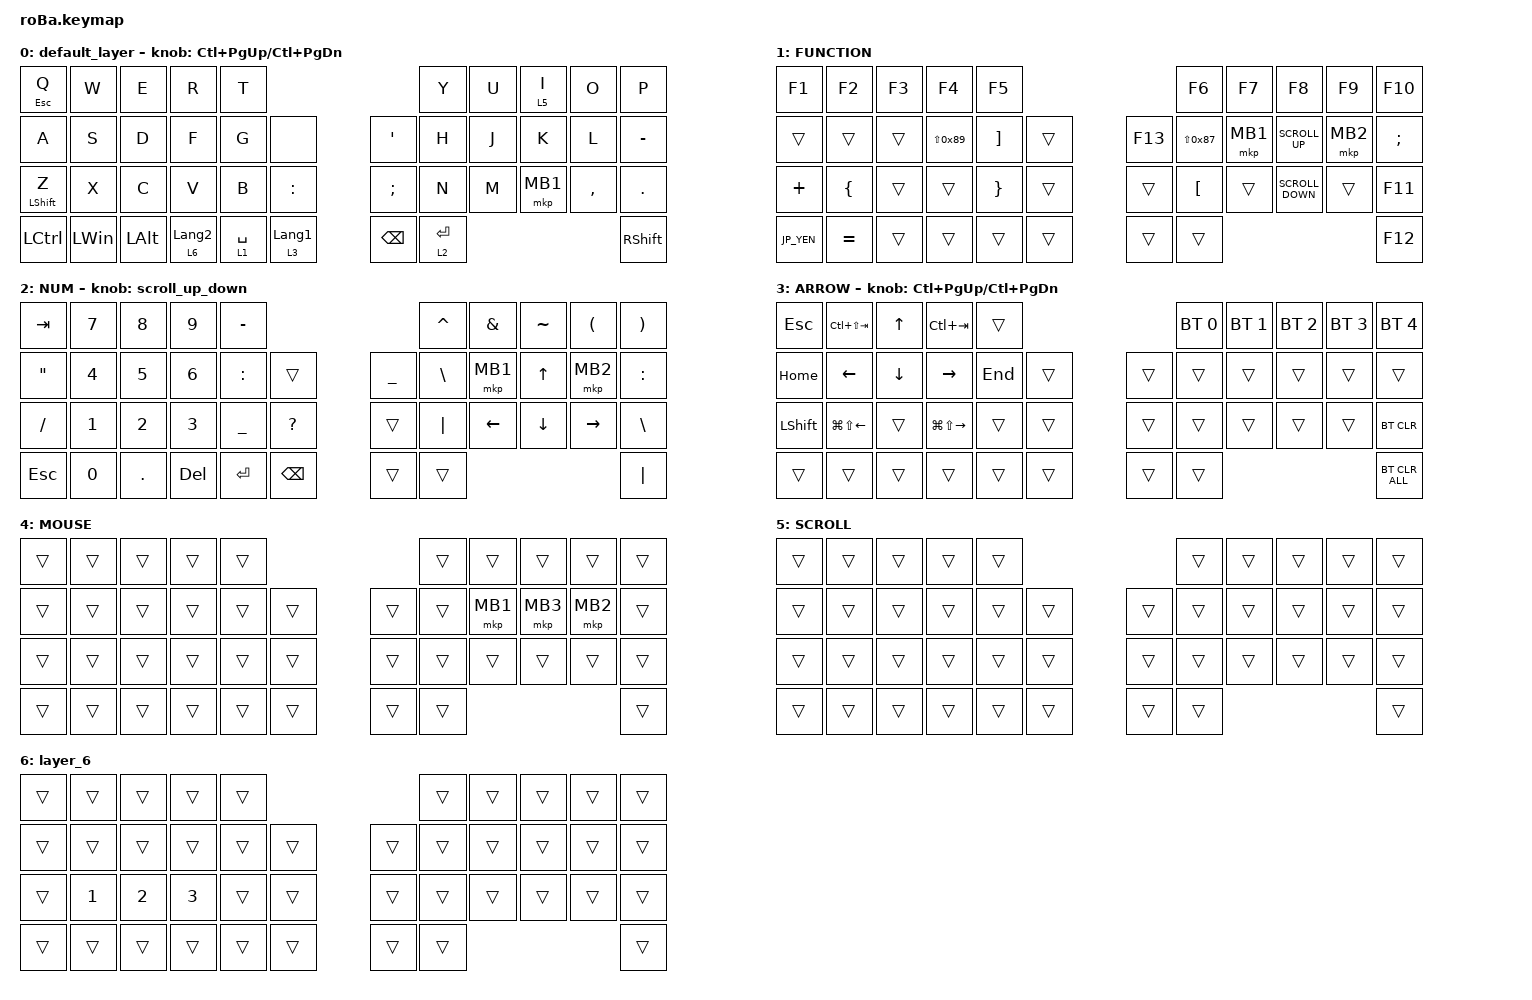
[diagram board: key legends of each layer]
#include <behaviors.dtsi>
#include <dt-bindings/zmk/bt.h>
#include <dt-bindings/zmk/keys.h>
#include <dt-bindings/zmk/pointing.h>

#define ZMK_MOUSE_POINTING_SCRL_VAL 100

// OS設定を日本語キーボードのまま使用するための変換定義

#define JP_DQUOTE       AT                // "
#define JP_AMPERSAND    CARET             // &
#define JP_QUOTE        AMPERSAND         // '
#define JP_EQUAL        UNDER             // =
#define JP_CARET        EQUAL             // ^
#define JP_YEN          0x89              // ¥
#define JP_PLUS         COLON             // +
#define JP_TILDE        PLUS              // ~
#define JP_PIPE         LS(0x89)          // |
#define JP_AT           LEFT_BRACKET      // @
#define JP_COLON        SINGLE_QUOTE      // :
#define JP_ASTERISK     DOUBLE_QUOTES     // *
#define JP_BACKQUOTE    LEFT_BRACE        // `
#define JP_UNDERSCORE   LS(0x87)          // _
#define JP_LBRACKET     RIGHT_BRACKET     // [
#define JP_RBRACKET     BACKSLASH         // ]
#define JP_LPAREN       ASTERISK          // (
#define JP_RPAREN       LEFT_PARENTHESIS  // )
#define JP_LBRACE       RIGHT_BRACE       // {
#define JP_RBRACE       PIPE              // }
#define JP_KANA         LANGUAGE_1        // かな
#define JP_EISU         LANGUAGE_2        // 英数
#define JP_HANZEN       GRAVE             // 半角/全角

&mt {
    flavor = "balanced";
    quick-tap-ms = <0>;
};

&trackball {
    automouse-layer = <4>;
    scroll-layers = <5>;

    // arrows {
    //     layers = <3>;
    //     bindings =
    //         <&kp RIGHT_ARROW>,
    //         <&kp LEFT_ARROW>,
    //         <&kp UP_ARROW>,
    //         <&kp DOWN_ARROW>;
    //     tick = <10>;
    //     wait-ms = <5>;
    //     tap-ms = <5>;
    // };
};

/ {
    combos {
        compatible = "zmk,combos";

        tab {
            bindings = <&kp TAB>;
            key-positions = <11 12>;
        };

        shift_tab {
            bindings = <&kp LS(TAB)>;
            key-positions = <12 13>;
        };

        muhennkann {
            bindings = <&to_layer_0 INT_MUHENKAN>;
            key-positions = <11 10>;
        };

        double_quotation {
            bindings = <&kp DOUBLE_QUOTES>;
            key-positions = <20 21>;
        };

        eq {
            bindings = <&kp EQUAL>;
            key-positions = <24 25>;
        };
    };

    macros {
        to_layer_0: to_layer_0 {
            compatible = "zmk,behavior-macro-one-param";
            #binding-cells = <1>;
            bindings = <&to 0 &macro_param_1to1 &kp MACRO_PLACEHOLDER>;
            label = "TO_LAYER_0";
        };
    };

    behaviors {
        lt_to_layer_0: lt_to_layer_0 {
            compatible = "zmk,behavior-hold-tap";
            label = "LAYER_TAP_TO_0";
            bindings = <&mo>, <&to_layer_0>;

            #binding-cells = <2>;
            tapping-term-ms = <200>;
        };
        scroll_up_down: behavior_sensor_rotate_mouse_wheel_up_down {
            compatible = "zmk,behavior-sensor-rotate";
            #sensor-binding-cells = <0>;
            bindings = <&msc SCRL_DOWN>, <&msc SCRL_UP>;
            tap-ms = <20>;
        };
    };

    keymap {
        compatible = "zmk,keymap";

        default_layer {
            bindings = <
&mt ESCAPE Q      &kp W         &kp E         &kp R                        &kp T                                                         &kp Y        &kp U  &lt 5 I   &kp O      &kp P
&kp A             &kp S         &kp D         &kp F                        &kp G        &none                            &kp APOSTROPHE  &kp H        &kp J  &kp K     &kp L      &kp MINUS
&mt LEFT_SHIFT Z  &kp X         &kp C         &kp V                        &kp B        &kp COLON                        &kp SEMICOLON   &kp N        &kp M  &mkp MB1  &kp COMMA  &kp PERIOD
&kp LCTRL         &kp LEFT_WIN  &kp LEFT_ALT  &lt_to_layer_0 6 LANGUAGE_2  &lt 1 SPACE  &lt_to_layer_0 3 LANGUAGE_1      &kp BACKSPACE   &lt 2 ENTER                              &kp RIGHT_SHIFT
            >;
            sensor-bindings = <&inc_dec_kp LC(PAGE_UP) LC(PAGE_DOWN)>;
        };

        FUNCTION {
            bindings = <
&kp F1  &kp F2  &kp F3  &kp F4  &kp F5                       &kp F6            &kp F7    &kp F8             &kp F9    &kp F10
&trans  &trans  &trans  &kp JP_PIPE  &kp JP_LBRACKET  &trans      &kp F13  &kp JP_UNDERSCORE        &mkp MB1  &kp K_SCROLL_UP    &mkp MB2  &kp SEMICOLON
&kp JP_TILDE  &kp JP_BACKQUOTE  &trans  &trans  &kp JP_LBRACE  &trans      &trans   &kp JP_AT  &trans    &kp K_SCROLL_DOWN  &trans    &kp F11
&kp JP_YEN  &kp JP_CARET  &trans  &trans  &trans  &trans      &trans   &trans                                                   &kp F12
            >;
        };

        NUM {
            bindings = <
&kp TAB          &kp NUMBER_7  &kp NUMBER_8  &kp NUMBER_9  &kp MINUS                                       &kp CARET         &kp AMPERSAND   &kp TILDE       &kp LEFT_PARENTHESIS  &kp RIGHT_PARENTHESIS
&kp JP_ASTERISK  &kp NUMBER_4  &kp NUMBER_5  &kp NUMBER_6  &kp JP_PLUS  &trans             &kp UNDERSCORE  &kp JP_RBRACKET   &mkp MB1        &kp UP_ARROW    &mkp MB2              &kp COLON
&kp SLASH     &kp NUMBER_1  &kp NUMBER_2  &kp NUMBER_3  &kp JP_EQUAL    &kp QUESTION       &trans          &kp JP_RBRACE  &kp LEFT_ARROW  &kp DOWN_ARROW  &kp RIGHT_ARROW       &kp BACKSLASH
&kp ESCAPE       &kp NUMBER_0  &kp PERIOD    &kp DEL       &kp ENTER    &kp BACKSPACE      &trans          &trans                                                                  &kp PIPE
            >;
            sensor-bindings = <&scroll_up_down>;
        };

        ARROW {
            bindings = <
&kp ESCAPE      &kp LC(LS(TAB))         &kp UP_ARROW    &kp LC(TAB)              &trans                      &bt BT_SEL 0  &bt BT_SEL 1  &bt BT_SEL 2  &bt BT_SEL 3  &bt BT_SEL 4
&kp HOME        &kp LEFT_ARROW          &kp DOWN_ARROW  &kp RIGHT_ARROW          &kp END  &trans      &trans  &trans  &trans  &trans  &trans  &trans
&kp LEFT_SHIFT  &kp LG(LS(LEFT_ARROW))  &trans          &kp LG(LS(RIGHT_ARROW))  &trans   &trans      &trans  &trans  &trans  &trans  &trans  &bt BT_CLR
&trans          &trans                  &trans          &trans                   &trans   &trans      &trans  &trans                          &bt BT_CLR_ALL
            >;

            sensor-bindings = <&inc_dec_kp LC(PAGE_UP) LC(PAGE_DOWN)>;
        };

        MOUSE {
            bindings = <
&trans  &trans  &trans  &trans  &trans                      &trans  &trans    &trans    &trans    &trans
&trans  &trans  &trans  &trans  &trans  &trans      &trans  &trans  &mkp MB1  &mkp MB3  &mkp MB2  &trans
&trans  &trans  &trans  &trans  &trans  &trans      &trans  &trans  &trans    &trans    &trans    &trans
&trans  &trans  &trans  &trans  &trans  &trans      &trans  &trans                                &trans
            >;
        };

        SCROLL {
            bindings = <
&trans  &trans  &trans  &trans  &trans                      &trans  &trans  &trans  &trans  &trans
&trans  &trans  &trans  &trans  &trans  &trans      &trans  &trans  &trans  &trans  &trans  &trans
&trans  &trans  &trans  &trans  &trans  &trans      &trans  &trans  &trans  &trans  &trans  &trans
&trans  &trans  &trans  &trans  &trans  &trans      &trans  &trans                          &trans
            >;
        };

        layer_6 {
            bindings = <
&trans  &trans        &trans        &trans        &trans                      &trans        &trans        &trans        &trans        &trans
&trans  &trans        &trans        &trans        &trans  &trans      &trans  &trans        &trans        &trans        &trans        &trans
&trans  &kp NUMBER_1  &kp NUMBER_2  &kp NUMBER_3  &trans  &trans      &trans  &trans        &trans        &trans        &trans        &trans
&trans  &trans        &trans        &trans        &trans  &trans      &trans  &trans                                                  &trans
            >;
        };
    };
};
